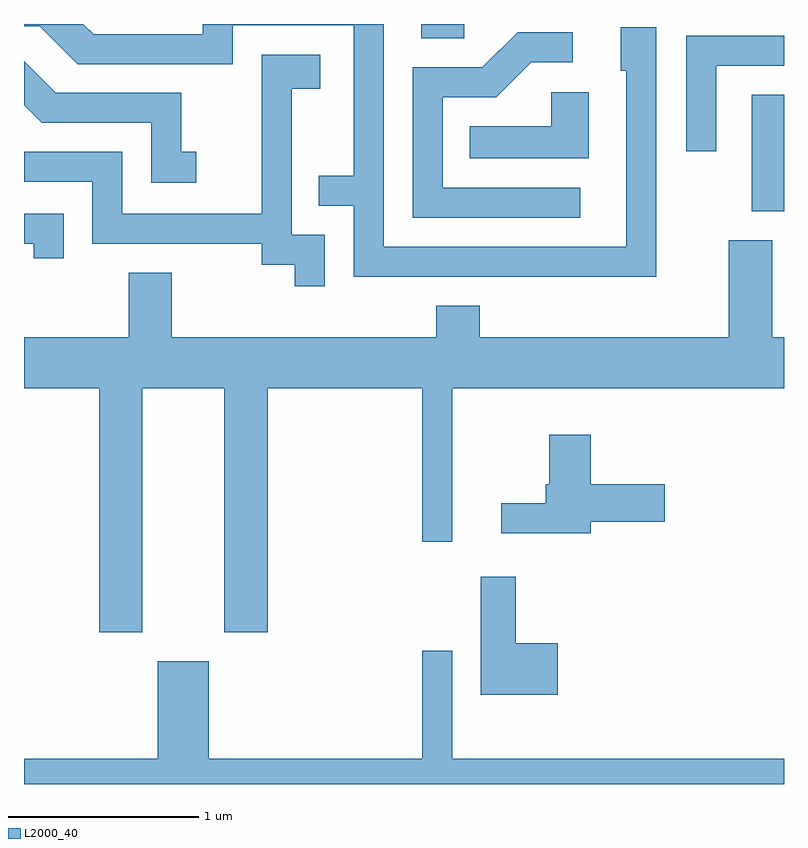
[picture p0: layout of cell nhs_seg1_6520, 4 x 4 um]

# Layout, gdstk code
import gdstk
lib = gdstk.Library(unit=1e-6, precision=1e-09)
def R(c, l, rs):  # rectangles x0, y0, x1, y1
    for r in rs: c.add(gdstk.rectangle(r[:2], r[2:], *l))
def P(c, l, *ps):  # polygons
    for p in ps: c.add(gdstk.Polygon(p, *l))
L2000_40 = (2000, 40)

nhs_seg1_6520 = lib.new_cell('nhs_seg1_6520')
R(nhs_seg1_6520, L2000_40, [(385.441,902.726,385.611,903.339), (383.701,903.636,383.929,903.712)])
P(nhs_seg1_6520, L2000_40, [(384.939,903.694),(384.751,903.694),(384.751,903.466),(384.781,903.466),(384.781,902.539),(383.504,902.539),(383.504,903.712),(382.551,903.712),(382.551,903.659),(381.977,903.659),(381.924,903.712),(381.611,903.712),(381.611,903.701),(381.694,903.701),(381.894,903.501),(382.709,903.501),(382.709,903.706),(383.346,903.706),(383.346,902.914),(383.163,902.914),(383.163,902.756),(383.346,902.756),(383.346,902.381),(384.939,902.381)],
  [(384.538,902.849),(383.814,902.849),(383.814,903.326),(384.097,903.326),(384.282,903.511),(384.498,903.511),(384.498,903.669),(384.209,903.669),(384.024,903.484),(383.656,903.484),(383.656,902.691),(384.538,902.691)],
  [(385.254,903.491),(385.611,903.491),(385.611,903.649),(385.096,903.649),(385.096,903.043),(385.254,903.043)],
  [(383.194,902.604),(383.019,902.604),(383.019,903.371),(383.169,903.371),(383.169,903.549),(382.861,903.549),(382.861,902.714),(382.129,902.714),(382.129,903.039),(381.611,903.039),(381.611,902.881),(381.971,902.881),(381.971,902.556),(382.861,902.556),(382.861,902.446),(383.036,902.446),(383.036,902.333),(383.194,902.333)],
  [(382.518,903.039),(382.439,903.039),(382.439,903.349),(381.777,903.349),(381.611,903.515),(381.611,903.284),(381.704,903.191),(382.281,903.191),(382.281,902.876),(382.518,902.876)],
  [(384.584,903.354),(384.386,903.354),(384.386,903.174),(383.958,903.174),(383.958,903.006),(384.584,903.006)],
  [(381.819,902.714),(381.611,902.714),(381.611,902.556),(381.661,902.556),(381.661,902.478),(381.819,902.478)],
  [(382.234,901.796),(382.666,901.796),(382.666,900.511),(382.894,900.511),(382.894,901.796),(383.706,901.796),(383.706,900.988),(383.864,900.988),(383.864,901.796),(385.611,901.796),(385.611,902.064),(385.549,902.064),(385.549,902.574),(385.321,902.574),(385.321,902.064),(384.009,902.064),(384.009,902.229),(383.781,902.229),(383.781,902.064),(382.389,902.064),(382.389,902.404),(382.161,902.404),(382.161,902.064),(381.611,902.064),(381.611,901.796),(382.006,901.796),(382.006,900.511),(382.234,900.511)],
  [(384.594,901.091),(384.984,901.091),(384.984,901.289),(384.594,901.289),(384.594,901.549),(384.376,901.549),(384.376,901.289),(384.356,901.289),(384.356,901.189),(384.123,901.189),(384.123,901.031),(384.594,901.031)],
  [(384.419,900.454),(384.199,900.454),(384.199,900.804),(384.016,900.804),(384.016,900.181),(384.419,900.181)],
  [(385.611,899.844),(383.864,899.844),(383.864,900.413),(383.706,900.413),(383.706,899.844),(382.584,899.844),(382.584,900.359),(382.316,900.359),(382.316,899.844),(381.611,899.844),(381.611,899.712),(385.611,899.712)])

lib.write_gds('nhs_seg1_6520.gds')
